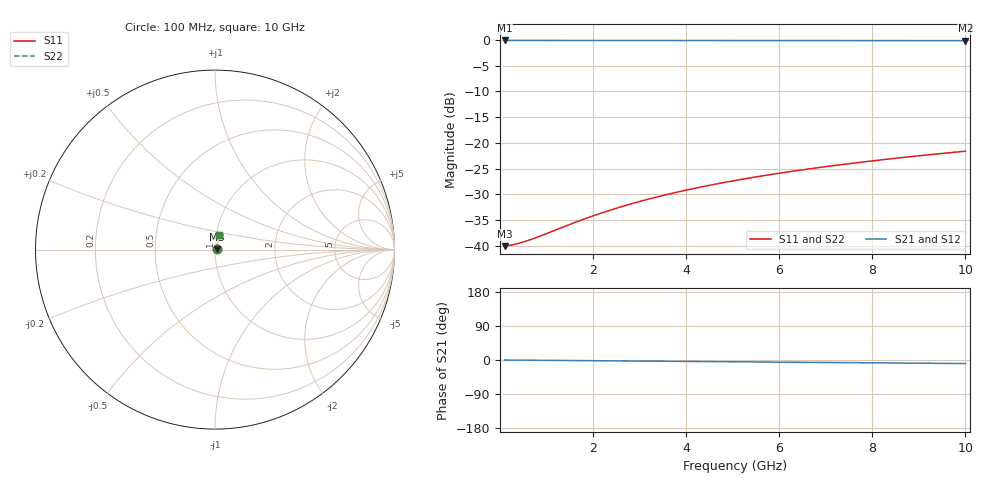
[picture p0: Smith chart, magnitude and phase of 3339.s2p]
# Hz S RI R 50.00
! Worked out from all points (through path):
!   100 points, 100 MHz to 10 GHz, reference 50 ohm
!   highest |S21| = -0.09 dB at 100 MHz (marker M1); lowest = -0.1 dB at 10 GHz (marker M2)
!   group delay of S21, straight-line fit = 2.59 ps
!   lowest |S11| = -40.1 dB at 100 MHz (marker M3), VSWR 1.02, Z = 51 + j0.0828 ohm
!   |S11| at or under -10 dB: start of sweep to end of sweep
!   |S22| runs from -40.1 to -21.6 dB; largest |S21 - S12| = 0
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1e8  0.00987 0.000812  0.9901 -0.00161  0.9901 -0.00161  0.00987 0.000812
3e8  0.00999 0.00244  0.99 -0.00484  0.99 -0.00484  0.00999 0.00244
4e8  0.01 0.00325  0.99 -0.00645  0.99 -0.00645  0.01 0.00325
6e8  0.0101 0.00487  0.9899 -0.00967  0.9899 -0.00967  0.0101 0.00487
9e8  0.0103 0.0073  0.9897 -0.0145  0.9897 -0.0145  0.0103 0.0073
1.5e9  0.0105 0.0122  0.9894 -0.0242  0.9894 -0.0242  0.0105 0.0122
1.8e9  0.0107 0.0146  0.9892 -0.029  0.9892 -0.029  0.0107 0.0146
2.2e9  0.011 0.0178  0.9889 -0.0354  0.9889 -0.0354  0.011 0.0178
2.6e9  0.0113 0.0211  0.9885 -0.0419  0.9885 -0.0419  0.0113 0.0211
3e9  0.0116 0.0243  0.9881 -0.0483  0.9881 -0.0483  0.0116 0.0243
3.4e9  0.012 0.0275  0.9876 -0.0547  0.9876 -0.0547  0.012 0.0275
3.8e9  0.0124 0.0307  0.9871 -0.0611  0.9871 -0.0611  0.0124 0.0307
4.2e9  0.0129 0.0339  0.9866 -0.0675  0.9866 -0.0675  0.0129 0.0339
4.6e9  0.0133 0.0371  0.9859 -0.0739  0.9859 -0.0739  0.0133 0.0371
5.1e9  0.014 0.0411  0.9851 -0.0819  0.9851 -0.0819  0.014 0.0411
5.5e9  0.0146 0.0443  0.9844 -0.0883  0.9844 -0.0883  0.0146 0.0443
5.9e9  0.0152 0.0475  0.9836 -0.0947  0.9836 -0.0947  0.0152 0.0475
6.7e9  0.0166 0.0538  0.9819 -0.1074  0.9819 -0.1074  0.0166 0.0538
7.5e9  0.0181 0.0601  0.98 -0.1201  0.98 -0.1201  0.0181 0.0601
8.4e9  0.0201 0.0671  0.9776 -0.1343  0.9776 -0.1343  0.0201 0.0671
9.2e9  0.0219 0.0733  0.9753 -0.1469  0.9753 -0.1469  0.0219 0.0733
1e10  0.024 0.0794  0.9727 -0.1595  0.9727 -0.1595  0.024 0.0794
